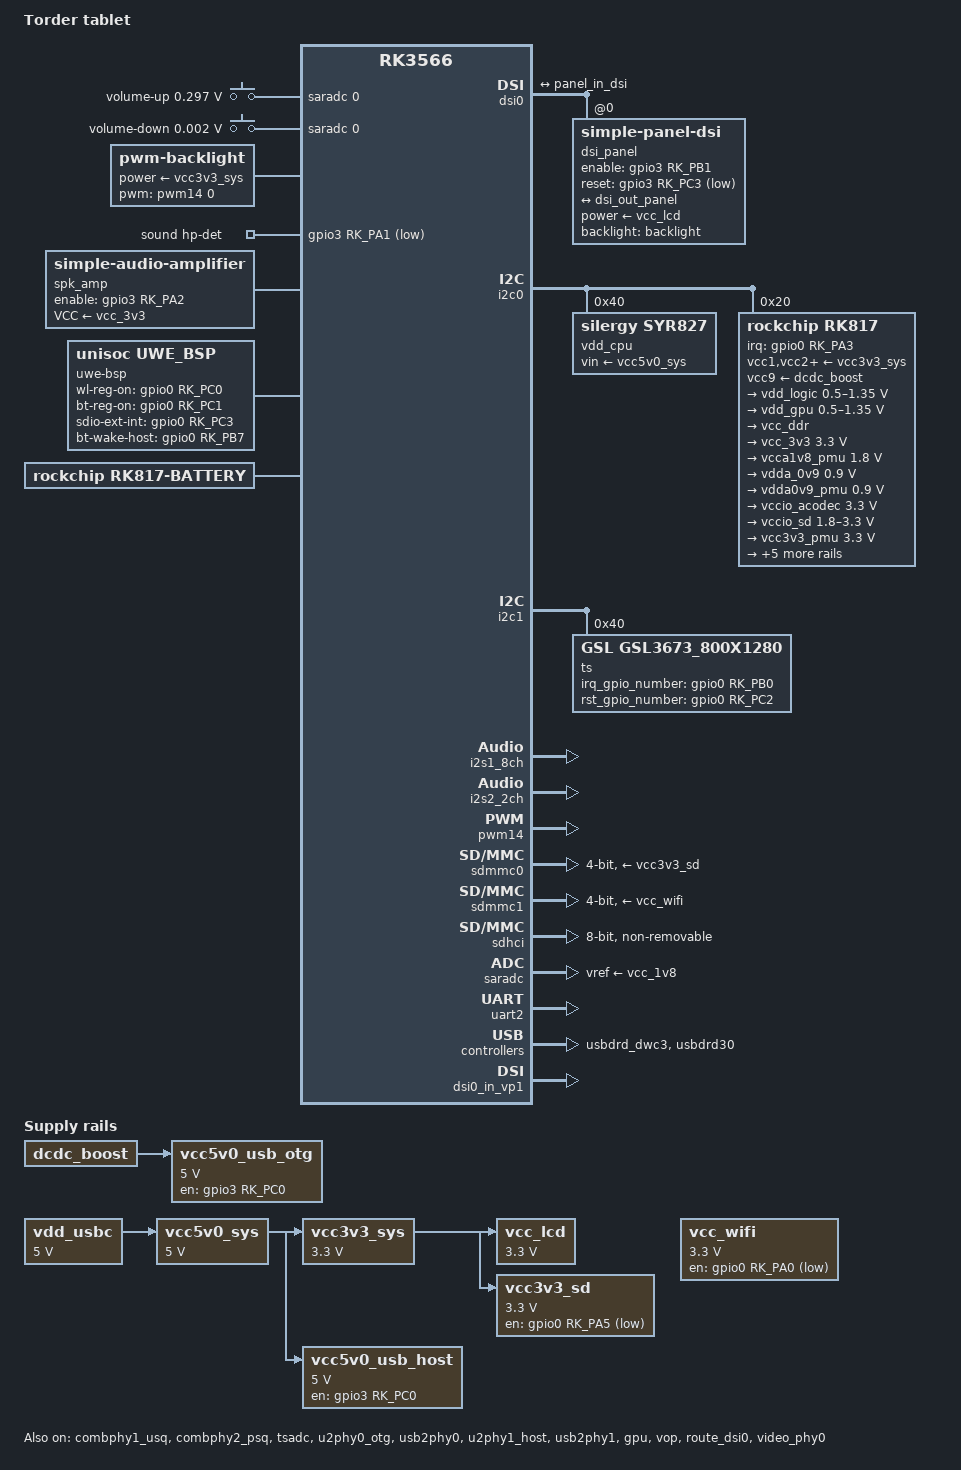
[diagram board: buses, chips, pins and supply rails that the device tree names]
// SPDX-License-Identifier: GPL-2.0-or-later OR MIT
/*
 * Copyright (c) 2025 Serhii Serhieiev <adron@ngnp.net>
 */
/dts-v1/;

#include <dt-bindings/gpio/gpio.h>
#include <dt-bindings/pinctrl/rockchip.h>
#include <dt-bindings/input/rk-input.h>
#include <dt-bindings/sensor-dev.h>
#include <dt-bindings/display/drm_mipi_dsi.h>
#include "rk3566.dtsi"
#include "rk3568-android.dtsi"


/ {
	model = "Torder tablet";
	compatible = "torder,tablet", "rockchip,rk3566";

	aliases {
		mmc0 = &sdmmc0;
		mmc1 = &sdmmc1;
		mmc2 = &sdhci;
	};

	chosen: chosen {
		bootargs = "earlycon=uart8250,mmio32,0xfe660000 console=ttyFIQ0 root=PARTUUID=614e0000-0000 rw rootwait";
	};

	adc-keys {
		compatible = "adc-keys";
		io-channels = <&saradc 0>;
		io-channel-names = "buttons";
		keyup-threshold-microvolt = <1800000>;
		poll-interval = <100>;

		vol-up-key {
			label = "volume-up";
			linux,code = <KEY_VOLUMEUP>;
			press-threshold-microvolt = <297500>;
		};
		vol-down-key {
			label = "volume-down";
			linux,code = <KEY_VOLUMEDOWN>;
			press-threshold-microvolt = <1750>;
		};
	};


	backlight: backlight {
		compatible = "pwm-backlight";
		power-supply = <&vcc3v3_sys>;
		pwms = <&pwm14 0 25000 0>;
		brightness-levels = <
			0		20	20	21	21	22	22	23
			23	24	24	25	25	26	26	27
			27	28	28	29	29	30	30	31
			31	32	32	33	33	34	34	35
			35	36	36	37	37	38	38	39
			40	41	42	43	44	45	46	47
			48	49	50	51	52	53	54	55
			56	57	58	59	60	61	62	63
			64	65	66	67	68	69	70	71
			72	73	74	75	76	77	78	79
			80	81	82	83	84	85	86	87
			88	89	90	91	92	93	94	95
			96	97	98	99	100	101	102	103
			104	105	106	107	108	109	110	111
			112	113	114	115	116	117	118	119
			120	121	122	123	124	125	126	127
			128	129	130	131	132	133	134	135
			136	137	138	139	140	141	142	143
			144	145	146	147	148	149	150	151
			152	153	154	155	156	157	158	159
			160	161	162	163	164	165	166	167
			168	169	170	171	172	173	174	175
			176	177	178	179	180	181	182	183
			184	185	186	187	188	189	190	191
			192	193	194	195	196	197	198	199
			200	201	202	203	204	205	206	207
			208	209	210	211	212	213	214	215
			216	217	218	219	220	221	222	223
			224	225	226	227	228	229	230	231
			232	233	234	235	236	237	238	239
			240	241	242	243	244	245	246	247
			248	249	250	251	252	253	254	255>;
		default-brightness-level = <128>;
	};

	sound {
		compatible = "simple-audio-card";
		pinctrl-0 = <&hp_det>;
		pinctrl-names = "default";
		simple-audio-card,name = "rk817_ext";
		simple-audio-card,aux-devs = <&spk_amp>;
		simple-audio-card,format = "i2s";
		simple-audio-card,hp-det-gpio = <&gpio3 RK_PA1 GPIO_ACTIVE_LOW>;
		simple-audio-card,mclk-fs = <256>;
		simple-audio-card,widgets =
			"Microphone", "Internal Mic",
			"Microphone", "Mic Jack",
			"Headphone", "Headphones",
			"Speaker", "Internal Speakers";
		simple-audio-card,routing =
			/* Internal mic */
			"MICL", "Internal Mic",
			/* External mic (e.g. headset) */
			"MICL", "Mic Jack",

			/* Headphones */
			"Headphones", "HPOL",
			"Headphones", "HPOR",

	    /* Speaker amp path */
			"Speaker Amp INL", "HPOL",
			"Speaker Amp INR", "HPOR",
			"Internal Speakers", "Speaker Amp OUTL",
			"Internal Speakers", "Speaker Amp OUTR";
		simple-audio-card,pin-switches = "Internal Speakers";
		simple-audio-card,jack-second-pin = "Internal Speakers";

		simple-audio-card,codec {
			sound-dai = <&rk817>;
		};

		simple-audio-card,cpu {
			sound-dai = <&i2s1_8ch>;
		};
	};

	spk_amp: audio-amplifier {
		compatible = "simple-audio-amplifier";
		enable-gpios = <&gpio3 RK_PA2 GPIO_ACTIVE_HIGH>;
		pinctrl-0 = <&spk_amp_enable_h>;
		pinctrl-names = "default";
		sound-name-prefix = "Speaker Amp";
		VCC-supply = <&vcc_3v3>;
	};

	bt_sco: bt-sco {
		/* Bluetooth-SCO (Synchronous Connection-Oriented link) audio CODEC */
		compatible = "delta,dfbmcs320";
		#sound-dai-cells = <0>;
		status = "okay";
	};

	bt-sound {
		compatible = "simple-audio-card";
		simple-audio-card,format = "dsp_b";
		simple-audio-card,bitclock-inversion = <1>;
		simple-audio-card,mclk-fs = <256>;
		simple-audio-card,name = "rockchip,bt";
		simple-audio-card,bitclock-master = <&bt_sco>;
		simple-audio-card,frame-master = <&bt_sco>;
		simple-audio-card,widgets =
			"Microphone", "RX",
			"Speaker", "TX";
		simple-audio-card,routing =
			"BT_SCO_TX", "RX",
			"TX", "BT_SCO_RX";

		simple-audio-card,codec {
			sound-dai = <&bt_sco>;
		};

		simple-audio-card,cpu {
			sound-dai = <&i2s2_2ch>;
		};

	};

	sdio_pwrseq: sdio-pwrseq {
		compatible = "mmc-pwrseq-simple";
		clocks = <&rk817 1>;
		clock-names = "ext_clock";
		//pinctrl-names = "default";
		//pinctrl-0 = <&wifi_enable_h>;
		//reset-gpios = <&gpio0 RK_PC0 GPIO_ACTIVE_LOW>; // chip_en (wl-reg-on)
		/* The UWE driver is responsible for reset control. Otherwise, the card detection does not pass. */
	};

	sprd-wlan {
		compatible = "sprd,uwe5622-wifi";
		status = "okay";
	};

	sprd-mtty {
		compatible = "sprd,mtty";
		sprd,name = "ttyBT";
		status = "okay";
	};

	uwe-bsp {
		// Think of the BSP as the glue between the Linux kernel and the hardware — it ensures the UWE5621DS can initialize,
		// communicate, and function properly on your board. Without it, the kernel won’t know how to talk to the chip,
		// even if the hardware is present.
		compatible = "unisoc,uwe_bsp";
		wl-reg-on = <&gpio0 RK_PC0 GPIO_ACTIVE_HIGH>;
		bt-reg-on = <&gpio0 RK_PC1 GPIO_ACTIVE_HIGH>;
		sdio-ext-int-gpio = <&gpio0 RK_PC3 GPIO_ACTIVE_HIGH>;
		unisoc,btwf-file-name = "/lib/firmware/uwe5622/wcnmodem.bin";
		bt-wake-host;
		bt-wake-host-gpio = <&gpio0 RK_PB7 GPIO_ACTIVE_HIGH>;
		blksz-512;
		keep-power-on;
		//data-irq;
		sdma-tx;
		sdma-rx;
		status = "okay";
	};

	// battery: battery {
	// 	compatible = "simple-battery";
	// 	charge-full-design-microamp-hours = <6000000>;
	// 	charge-term-current-microamp = <300000>;
	// 	constant-charge-current-max-microamp = <2000000>;
	// 	constant-charge-voltage-max-microvolt = <4300000>;
	// 	voltage-max-design-microvolt = <4138000>;
	// 	voltage-min-design-microvolt = <3400000>;

	// 	ocv-capacity-celsius = <20>;
	// 	ocv-capacity-table-0 =  <4138000 100>, <4083000 95>, <4059000 90>, <4044000 85>,
	// 				<4030000 80>, <4020000 75>, <4006000 70>, <3972000 65>,
	// 				<3934000 60>, <3904000 55>, <3878000 50>, <3857000 45>,
	// 				<3843000 40>, <3826000 35>, <3801000 30>, <3768000 25>,
	// 				<3735000 20>, <3688000 15>, <3621000 10>, <3553000 5>,
	// 				<3400000 0>;
	// 	ntc-table = <45067 42950 40946 39048 37251 35548 33934 32403 30952 29574 28267 27025 25846 24726 23661 22649 21686 20771 19899 19070 18280 17527 16810 16127 15476 14855 14262 13697 13157 12642 12150 11680 11231 10802 10392 10000 9624 9265 8922 8593 8278 7977 7688 7411 7146 6890 6643 6408 6182 5965 5756 5554 5361 5175 4996 4824 4658 4497 4341 4192 4047 3908 3775 3647 3524 3406 3292 3183 3077 2977 2878 2782 2694 2607 2526 2448 2373 2302 2234 2169 2108 2049 1993 1940 1888 1838 1792 1746 1702 1659 1636>;
	// };

	/* hdmi-con {
		compatible = "hdmi-connector";
		type = "c";

		port {
			hdmi_con_in: endpoint {
				remote-endpoint = <&hdmi_out_con>;
			};
		};
	}; */

	battery: battery {
        compatible = "rockchip,rk817-battery";

        /* OCV Table: 0% ~ 100% (one point every 5%, total 21 points) */
        /* Voltage range: 3400mV → 4399mV, suitable for 4.4V high-voltage Li-ion cells */
        ocv_table = <3400 3450 3500 3550 3600 3650 3700
                     3750 3800 3850 3900 3950 3999 4049
                     4099 4141 4199 4249 4299 4341 4399>;

        design_capacity = <6074>;     /* Design capacity: 6074 mAh */
        design_qmax = <6681>;         /* Maximum available capacity (new cell): 6681 mAh */

        sample_res = <10>;            /* Sense resistor: 10 mΩ (critical driver parameter) */

        sleep_enter_current = <150>;  /* Enter sleep when current < 150 mA */
        sleep_exit_current  = <180>;  /* Exit sleep when current > 180 mA */
        sleep_filter_current = <100>; /* Current filter threshold */

        power_off_threshold = <3400>; /* Power-off voltage: 3.40V (to prevent over-discharge) */
        zero_algorithm_vol = <3950>;  /* Enable high-SOC optimization when ≥ 3.95V */
        max_soc_offset = <60>;        /* Max SOC deviation: 6% triggers calibration */
        monitor_sec = <5>;            /* Monitoring period: update every 5 seconds */
        virtual_power = <0>;          /* 0 = real battery, 1 = virtual/simulated */

        /* NTC ADC table (84 points, from low to high temperature) */
        /* Corresponds roughly to -20°C ~ 60°C; adjust to match your circuit */
        ntc_table = <0xb00b 0xa7c6 0x9ff2 0x9888 0x9183 0x8adc 0x848e 0x7e93
                     0x78e8 0x7386 0x6e6b 0x6991 0x64f6 0x6096 0x5c6d 0x5879
                     0x54b6 0x5123 0x4dbb 0x4a7e 0x4768 0x4477 0x41aa 0x3eff
                     0x3c74 0x3a07 0x37b6 0x3581 0x3365 0x3162 0x2f76 0x2da0
                     0x2bdf 0x2a32 0x2898 0x2710 0x2598 0x2431 0x22da 0x2191
                     0x2056 0x1f29 0x1e08 0x1cf3 0x1bea 0x1aeb 0x19f8 0x190e
                     0x182d 0x1756 0x1688 0x15c1 0x1503 0x144c 0x139c 0x12f4
                     0x1251 0x11b5 0x1120 0x108f 0x1005 0xf7f 0xeff 0xe84
                     0xe0d 0xd9a 0xd2c 0xcc2 0xc5b 0xbf9 0xb9a 0xb3e 0xae6
                     0xa91 0xa3f 0x9f0 0x9a3 0x95a 0x912 0x8ce 0x88b 0x84b
                     0x80e 0x7d2 0x798 0x760 0x72a 0x6f6 0x6c4 0x693 0x664>;

        ntc_degree_from = <1 10>;     /* Vendor-specific temperature mapping (for compatibility) */
    };


	vdd_usbc: vdd-usbc-regulator {
		compatible = "regulator-fixed";
		regulator-name = "vdd_usbc";
		regulator-always-on;
		regulator-boot-on;
		regulator-min-microvolt = <5000000>;
		regulator-max-microvolt = <5000000>;
	};

	vcc3v3_sys: regulator-vcc3v3-sys {
		compatible = "regulator-fixed";
		regulator-name = "vcc3v3_sys";
		regulator-always-on;
		regulator-boot-on;
		regulator-min-microvolt = <3300000>;
		regulator-max-microvolt = <3300000>;
		vin-supply = <&vcc5v0_sys>;
	};

	vcc_lcd: regulator-vcc-lcd {
		compatible = "regulator-fixed";
		regulator-name = "vcc_lcd";
		regulator-always-on;
		regulator-boot-on;
		regulator-min-microvolt = <3300000>;
		regulator-max-microvolt = <3300000>;
		vin-supply = <&vcc3v3_sys>;
	};

	vcc5v0_sys: regulator-vcc5v0-sys {
		compatible = "regulator-fixed";
		regulator-name = "vcc5v0_sys";
		regulator-always-on;
		regulator-boot-on;
		regulator-min-microvolt = <5000000>;
		regulator-max-microvolt = <5000000>;
		vin-supply = <&vdd_usbc>;
	};

	
	vcc5v0_usb_host: regulator-vcc5v0-usb2-host {
		compatible = "regulator-fixed";
		enable-active-high;
		gpio = <&gpio3 RK_PC0 GPIO_ACTIVE_HIGH>;
		pinctrl-names = "default";
		pinctrl-0 = <&vcc5v0_usb_host_en>;
		regulator-name = "vcc5v0_usb2_host";
		regulator-always-on;
		regulator-boot-on;
		regulator-min-microvolt = <5000000>;
		regulator-max-microvolt = <5000000>;
		vin-supply = <&vcc5v0_sys>;
	}; 

	
	vcc5v0_usb_otg: regulator-vcc5v0-usb2-otg {
		compatible = "regulator-fixed";
		enable-active-high;
		gpio = <&gpio3 RK_PC0 GPIO_ACTIVE_HIGH>;
		regulator-name = "vcc5v0_usb2_otg";
		regulator-min-microvolt = <5000000>;
		regulator-max-microvolt = <5000000>;
		vin-supply = <&dcdc_boost>;
	}; 

	vcc3v3_sd: vcc3v3_sd {
		compatible = "regulator-fixed";
		gpio = <&gpio0 RK_PA5 GPIO_ACTIVE_LOW>;
		pinctrl-names = "default";
		pinctrl-0 = <&vcc_sd_h>;
		regulator-boot-on;
		regulator-name = "vcc3v3_sd";
		regulator-min-microvolt = <3300000>;
		regulator-max-microvolt = <3300000>;
		vin-supply = <&vcc3v3_sys>;
	};

	vcc_wifi: regulator-vcc-wifi {
		compatible = "regulator-fixed";
		gpio = <&gpio0 RK_PA0 GPIO_ACTIVE_LOW>;
		pinctrl-0 = <&vcc_wifi_h>;
		pinctrl-names = "default";
		regulator-min-microvolt = <3300000>;
		regulator-max-microvolt = <3300000>;
		regulator-name = "vcc_wifi";
	};

};

&combphy1_usq {
	status = "okay";
};

&combphy2_psq {
	status = "okay";
};

&cpu0 {
	cpu-supply = <&vdd_cpu>;
};

&cpu1 {
	cpu-supply = <&vdd_cpu>;
};

&cpu2 {
	cpu-supply = <&vdd_cpu>;
};

&cpu3 {
	cpu-supply = <&vdd_cpu>;
};

&dsi0 {
	status = "okay";
	#address-cells = <1>;
	#size-cells = <0>;

	dsi_panel: panel@0 {
		status = "okay";
		compatible = "simple-panel-dsi";
		reg = <0>;

		backlight = <&backlight>;
		enable-gpios = <&gpio3 RK_PB1 GPIO_ACTIVE_HIGH>;
		reset-gpios = <&gpio3 RK_PC3 GPIO_ACTIVE_LOW>;

		pinctrl-names = "default";
		pinctrl-0 = <&lcd_rst &lcd_en>;

		power-supply=<&vcc_lcd>;

		enable-delay-ms = <120>;
		prepare-delay-ms = <20>;
		reset-delay-ms = <20>;
		init-delay-ms = <20>;
		unprepare-delay-ms = <20>;
		disable-delay-ms = <20>;

		size,width = <135>;
		size,height = <216>;

		dsi,flags = <(MIPI_DSI_MODE_VIDEO | MIPI_DSI_MODE_VIDEO_BURST | MIPI_DSI_MODE_LPM)>;
		dsi,format = <MIPI_DSI_FMT_RGB888>;
		dsi,lanes  = <4>;

		panel-init-sequence = [
			15 00 02 e0 00 15 00 02 e1 93 15 00 02 e2 65 
			15 00 02 e3 f8 15 00 02 80 03 15 00 02 e0 01 
			15 00 02 00 00 15 00 02 01 3c 15 00 02 17 00 
			15 00 02 0c 74 15 00 02 18 af 15 00 02 19 01 
			15 00 02 1a 00 15 00 02 1b af 15 00 02 1c 01 
			15 00 02 1f 3e 15 00 02 20 28 15 00 02 21 28 
			15 00 02 22 7e 15 00 02 35 26 15 00 02 37 09 
			15 00 02 38 04 15 00 02 39 00 15 00 02 3a 01 
			15 00 02 3c 7c 15 00 02 3d ff 15 00 02 3e ff 
			15 00 02 3f 7f 15 00 02 40 06 15 00 02 41 a0 
			15 00 02 42 81 15 00 02 43 08 15 00 02 44 0b 
			15 00 02 45 28 15 00 02 55 02 15 00 02 57 69 
			15 00 02 59 0a 15 00 02 5a 28 15 00 02 5b 14 
			15 00 02 5d 7c 15 00 02 5e 65 15 00 02 5f 55 
			15 00 02 60 47 15 00 02 61 43 15 00 02 62 32 
			15 00 02 63 34 15 00 02 64 1c 15 00 02 65 33 
			15 00 02 66 31 15 00 02 67 30 15 00 02 68 4e 
			15 00 02 69 3c 15 00 02 6a 44 15 00 02 6b 35 
			15 00 02 6c 31 15 00 02 6d 23 15 00 02 6e 11 
			15 00 02 6f 00 15 00 02 70 7c 15 00 02 71 65 
			15 00 02 72 55 15 00 02 73 47 15 00 02 74 43 
			15 00 02 75 32 15 00 02 76 34 15 00 02 77 1c 
			15 00 02 78 33 15 00 02 79 31 15 00 02 7a 30 
			15 00 02 7b 4e 15 00 02 7c 3c 15 00 02 7d 44 
			15 00 02 7e 35 15 00 02 7f 31 15 00 02 80 23 
			15 00 02 81 11 15 00 02 82 00 15 00 02 e0 02 
			15 00 02 00 1e 15 00 02 01 1e 15 00 02 02 41 
			15 00 02 03 41 15 00 02 04 43 15 00 02 05 43 
			15 00 02 06 1f 15 00 02 07 1f 15 00 02 08 35 
			15 00 02 09 1f 15 00 02 0a 15 15 00 02 0b 15 
			15 00 02 0c 1f 15 00 02 0d 47 15 00 02 0e 47 
			15 00 02 0f 45 15 00 02 10 45 15 00 02 11 4b 
			15 00 02 12 4b 15 00 02 13 49 15 00 02 14 49 
			15 00 02 15 1f 15 00 02 16 1e 15 00 02 17 1e 
			15 00 02 18 40 15 00 02 19 40 15 00 02 1a 42 
			15 00 02 1b 42 15 00 02 1c 1f 15 00 02 1d 1f 
			15 00 02 1e 35 15 00 02 1f 1f 15 00 02 20 15 
			15 00 02 21 15 15 00 02 22 1f 15 00 02 23 46 
			15 00 02 24 46 15 00 02 25 44 15 00 02 26 44 
			15 00 02 27 4a 15 00 02 28 4a 15 00 02 29 48 
			15 00 02 2a 48 15 00 02 2b 1f 15 00 02 2c 1f 
			15 00 02 2d 1f 15 00 02 2e 42 15 00 02 2f 42 
			15 00 02 30 40 15 00 02 31 40 15 00 02 32 1e 
			15 00 02 33 1e 15 00 02 34 1f 15 00 02 35 1f 
			15 00 02 36 1e 15 00 02 37 1e 15 00 02 38 1f 
			15 00 02 39 48 15 00 02 3a 48 15 00 02 3b 4a 
			15 00 02 3c 4a 15 00 02 3d 44 15 00 02 3e 44 
			15 00 02 3f 46 15 00 02 40 46 15 00 02 41 1f 
			15 00 02 42 1f 15 00 02 43 1f 15 00 02 44 43 
			15 00 02 45 43 15 00 02 46 41 15 00 02 47 41 
			15 00 02 48 1e 15 00 02 49 1e 15 00 02 4a 1e 
			15 00 02 4b 1f 15 00 02 4c 1e 15 00 02 4d 1e 
			15 00 02 4e 1f 15 00 02 4f 49 15 00 02 50 49 
			15 00 02 51 4b 15 00 02 52 4b 15 00 02 53 45 
			15 00 02 54 45 15 00 02 55 47 15 00 02 56 47 
			15 00 02 57 1f 15 00 02 58 40 15 00 02 5b 30 
			15 00 02 5c 03 15 00 02 5d 30 15 00 02 5e 01 
			15 00 02 5f 02 15 00 02 63 14 15 00 02 64 6a 
			15 00 02 67 73 15 00 02 68 05 15 00 02 69 14 
			15 00 02 6a 6a 15 00 02 6b 08 15 00 02 6c 00 
			15 00 02 6d 06 15 00 02 6e 00 15 00 02 6f 88 
			15 00 02 77 dd 15 00 02 79 0e 15 00 02 7a 03 
			15 00 02 7d 14 15 00 02 7e 6a 15 00 02 e0 04 
			15 00 02 09 11 15 00 02 0e 48 15 00 02 2d 03 
			15 00 02 2b 08 15 00 02 2e 03 15 00 02 e0 00 
			15 00 02 e6 02 15 00 02 e7 0c 
			05 78 01 11 
			05 64 01 29
		];

		panel-exit-sequence = [
			05 01 01 28 
			05 03 01 10
		];

		disp_timings0: display-timings {
			native-mode = <&dsi_timing0>;
			dsi_timing0: timing0 {
				clock-frequency = <60000000>;
				hactive = <800>;
				vactive = <1280>;

				hsync-len = <18>;
				hback-porch = <18>;
				hfront-porch = <18>;

				vsync-len = <4>;
				vback-porch = <8>;
				vfront-porch = <24>;

				hsync-active = <0>;
				vsync-active = <0>;
				de-active = <0>;
				pixelclk-active = <1>;
			};
		};

 		ports {
 			#address-cells = <1>;
 			#size-cells = <0>;
 			port@0 {
 				reg = <0>;
 				panel_in_dsi: endpoint {
 					remote-endpoint = <&dsi_out_panel>;
 				};
 			};
 		};
	};

	ports {
		#address-cells = <1>;
		#size-cells = <0>;
		port@1 {
			reg = <1>;
			dsi_out_panel: endpoint {
				remote-endpoint = <&panel_in_dsi>;
			};
		};
	};
};

&i2c0 {
	status = "okay";

	vdd_cpu: regulator@40 {
		compatible = "silergy,syr827";
		reg = <0x40>;
		regulator-compatible = "fan53555-reg";
		fcs,suspend-voltage-selector = <1>;
		regulator-name = "vdd_cpu";
		regulator-min-microvolt = <712500>;
		regulator-max-microvolt = <1390000>;
		regulator-ramp-delay = <2300>;
		regulator-always-on;
		regulator-boot-on;
		vin-supply = <&vcc5v0_sys>;

		regulator-state-mem {
			regulator-off-in-suspend;
		};
	};

	rk817: pmic@20 {
		compatible = "rockchip,rk817";
		reg = <0x20>;
		interrupt-parent = <&gpio0>;
		interrupts = <RK_PA3 IRQ_TYPE_LEVEL_LOW>;
		clock-output-names = "rk808-clkout1", "rk808-clkout2";
		#clock-cells = <1>;
		pinctrl-names = "default";
		pinctrl-0 = <&pmic_int_l>, <&i2s1m0_mclk>;
		assigned-clocks = <&cru I2S1_MCLKOUT_TX>;
		assigned-clock-parents = <&cru CLK_I2S1_8CH_TX>;
		clock-names = "mclk";
		clocks = <&cru I2S1_MCLKOUT_TX>;
		rockchip,system-power-controller;
		#sound-dai-cells = <0>;
		wakeup-source;

		vcc1-supply = <&vcc3v3_sys>;
		vcc2-supply = <&vcc3v3_sys>;
		vcc3-supply = <&vcc3v3_sys>;
		vcc4-supply = <&vcc3v3_sys>;
		vcc5-supply = <&vcc3v3_sys>;
		vcc6-supply = <&vcc3v3_sys>;
		vcc7-supply = <&vcc3v3_sys>;
		vcc8-supply = <&vcc3v3_sys>;
		vcc9-supply = <&dcdc_boost>;

		regulators {
			vdd_logic: DCDC_REG1 {
				regulator-always-on;
				regulator-boot-on;
				regulator-min-microvolt = <500000>;
				regulator-max-microvolt = <1350000>;
				regulator-ramp-delay = <6001>;
				regulator-initial-mode = <0x2>;
				regulator-name = "vdd_logic";
				regulator-state-mem {
					regulator-on-in-suspend;
					regulator-suspend-microvolt = <900000>;
				};
			};

			vdd_gpu: DCDC_REG2 {
				regulator-always-on;
				regulator-boot-on;
				regulator-min-microvolt = <500000>;
				regulator-max-microvolt = <1350000>;
				regulator-ramp-delay = <6001>;
				regulator-initial-mode = <0x2>;
				regulator-name = "vdd_gpu";
				regulator-state-mem {
					regulator-off-in-suspend;
				};
			};

			vcc_ddr: DCDC_REG3 {
				regulator-always-on;
				regulator-boot-on;
				regulator-initial-mode = <0x2>;
				regulator-name = "vcc_ddr";
				regulator-state-mem {
					regulator-on-in-suspend;
				};
			};

			vcc_3v3: DCDC_REG4 {
				regulator-always-on;
				regulator-boot-on;
				regulator-min-microvolt = <3300000>;
				regulator-max-microvolt = <3300000>;
				regulator-initial-mode = <0x2>;
				regulator-name = "vcc_3v3";
				regulator-state-mem {
					regulator-off-in-suspend;
				};
			};

			vcca1v8_pmu: LDO_REG1 {
				regulator-always-on;
				regulator-boot-on;
				regulator-min-microvolt = <1800000>;
				regulator-max-microvolt = <1800000>;
				regulator-name = "vcca1v8_pmu";
				regulator-state-mem {
					regulator-on-in-suspend;
					regulator-suspend-microvolt = <1800000>;
				};
			};

			vdda_0v9: LDO_REG2 {
				regulator-always-on;
				regulator-boot-on;
				regulator-min-microvolt = <900000>;
				regulator-max-microvolt = <900000>;
				regulator-name = "vdda_0v9";
				regulator-state-mem {
					regulator-off-in-suspend;
				};
			};

			vdda0v9_pmu: LDO_REG3 {
				regulator-always-on;
				regulator-boot-on;
				regulator-min-microvolt = <900000>;
				regulator-max-microvolt = <900000>;
				regulator-name = "vdda0v9_pmu";
				regulator-state-mem {
					regulator-on-in-suspend;
					regulator-suspend-microvolt = <900000>;
				};
			};

			vccio_acodec: LDO_REG4 {
				regulator-always-on;
				regulator-boot-on;
				regulator-min-microvolt = <3300000>;
				regulator-max-microvolt = <3300000>;
				regulator-name = "vccio_acodec";
				regulator-state-mem {
					regulator-off-in-suspend;
				};
			};

			vccio_sd: LDO_REG5 {
				regulator-always-on;
				regulator-boot-on;
				regulator-min-microvolt = <1800000>;
				regulator-max-microvolt = <3300000>;
				regulator-name = "vccio_sd";
				regulator-state-mem {
					regulator-off-in-suspend;
				};
			};

			vcc3v3_pmu: LDO_REG6 {
				regulator-always-on;
				regulator-boot-on;
				regulator-min-microvolt = <3300000>;
				regulator-max-microvolt = <3300000>;
				regulator-name = "vcc3v3_pmu";
				regulator-state-mem {
					regulator-on-in-suspend;
					regulator-suspend-microvolt = <3300000>;
				};
			};

			vcc_1v8: LDO_REG7 {
				regulator-always-on;
				regulator-boot-on;
				regulator-min-microvolt = <1800000>;
				regulator-max-microvolt = <1800000>;
				regulator-name = "vcc_1v8";
				regulator-state-mem {
					regulator-off-in-suspend;
				};
			};

			vcc1v8_dvp: LDO_REG8 {
				regulator-always-on;
				regulator-boot-on;
				regulator-min-microvolt = <1800000>;
				regulator-max-microvolt = <1800000>;
				regulator-name = "vcc1v8_dvp";
				regulator-state-mem {
					regulator-off-in-suspend;
				};
			};

			vcc2v8_dvp: LDO_REG9 {
				regulator-always-on;
				regulator-boot-on;
				regulator-min-microvolt = <2800000>;
				regulator-max-microvolt = <2800000>;
				regulator-name = "vcc2v8_dvp";
				regulator-state-mem {
					regulator-off-in-suspend;
				};
			};

			dcdc_boost: BOOST {
				/* regulator-always-on; */
				/* regulator-boot-on; */
				regulator-min-microvolt = <5200000>;
				regulator-max-microvolt = <5400000>;
				regulator-name = "boost";
				regulator-state-mem {
					regulator-off-in-suspend;
				};
			};

			otg_switch: OTG_SWITCH {
				regulator-name = "otg_switch";
				regulator-state-mem {
					regulator-off-in-suspend;
				};
			};
		};

		// rk817_charger: charger {
		// 	monitored-battery = <&battery>;
		// 	rockchip,resistor-sense-micro-ohms = <10000>;
		// 	rockchip,sleep-enter-current-microamp = <150000>;
		// 	rockchip,sleep-filter-current-microamp = <100000>;
		// };

		rk817_charger: charger {
			compatible = "rk817,charger";
			min_input_voltage = <4500>;
			max_input_current = <1500>;
			max_chrg_current = <2000>;
			max_chrg_voltage = <4300>;
			chrg_term_mode = <0>;
			chrg_finish_cur = <300>;
			virtual_power = <0>;
			dc_det_adc = <0>;
			extcon = <&usb2phy0>;
		};

	};

};

&i2c1 {
	status = "okay";

	ts@40 {
		compatible = "GSL,GSL3673_800X1280";
		reg = <0x40>;
		irq_gpio_number = <&gpio0 RK_PB0 IRQ_TYPE_EDGE_FALLING>;
		rst_gpio_number = <&gpio0 RK_PC2 GPIO_ACTIVE_HIGH>;
		pinctrl-names = "default";
		pinctrl-0 = <&ts_int>;
	};
};

&i2s0_8ch {
	status = "disabled";
	/* HDMI */
};

&i2s1_8ch {
	pinctrl-names = "default";
	pinctrl-0 = <&i2s1m0_sclktx
		     &i2s1m0_lrcktx
		     &i2s1m0_sdi0
		     &i2s1m0_sdo0>;
	rockchip,trcm-sync-tx-only;
	status = "okay";
	/* PMIC RK817 */
};

&i2s2_2ch {
	rockchip,trcm-sync-tx-only;
	#sound-dai-cells = <0>;
	status = "okay";
	/* UWE5621 Bluetooth */
};

&pinctrl {
	pmic {
		pmic_int_l: pmic-int {
			rockchip,pins = <0 RK_PA3 RK_FUNC_GPIO &pcfg_pull_up>;
		};
	};

	usb {
		vcc5v0_usb_host_en: vcc5v0-usb-host-en {
			rockchip,pins = <3 RK_PC0 RK_FUNC_GPIO &pcfg_pull_none>;
		};
	};

	vcc_sd {
		vcc_sd_h: vcc-sd-h {
			rockchip,pins = <0 RK_PA5 RK_FUNC_GPIO &pcfg_pull_none>;
		};
	};

	lcd {
		lcd_rst: lcd-rst-gpio {
			rockchip,pins = <3 RK_PC3 RK_FUNC_GPIO &pcfg_pull_none>;
		};

		lcd_en: lcd-enable-gpio {
			rockchip,pins = <3 RK_PB1 RK_FUNC_GPIO &pcfg_pull_none>;
		};
	};

	sdio-pwrseq {
		wifi_enable_h: wifi-enable-h {
			rockchip,pins = <0 RK_PC0 RK_FUNC_GPIO &pcfg_pull_none>;
		};
	};

	vcc-wifi {
		vcc_wifi_h: vcc-wifi-h {
			rockchip,pins = <0 RK_PA0 RK_FUNC_GPIO &pcfg_pull_none>;
		};
	};

	audio-amplifier {
		spk_amp_enable_h: spk-amp-enable-h {
			rockchip,pins =
				<3 RK_PA2 RK_FUNC_GPIO &pcfg_pull_none>;
		};
	};

	hp-detect {
		hp_det: hp-det {
			rockchip,pins =
				<3 RK_PA1 RK_FUNC_GPIO &pcfg_pull_none>;
		};
	};
	ts {
		ts_int: ts-int {
			rockchip,pins = <0 RK_PB0 RK_FUNC_GPIO &pcfg_pull_up>;
		};
	};

};

&pmu_io_domains {
    pmuio1-supply = <&vcc3v3_pmu>;
    pmuio2-supply = <&vcca1v8_pmu>;
    vccio1-supply = <&vccio_acodec>;
    #vccio2-supply = <&vcc_1v8>;
    vccio3-supply = <&vccio_sd>;
    vccio4-supply = <&vcc_1v8>;
    vccio5-supply = <&vcc_3v3>;
    vccio6-supply = <&vcc1v8_dvp>;
    vccio7-supply = <&vcc_3v3>;
    status = "okay";
};

&pwm14 {
	status = "okay";
};

&sdmmc0 { /* sd-card slot */
	bus-width = <4>;
	cap-mmc-highspeed;
	cap-sd-highspeed;
	disable-wp;
	sd-uhs-sdr104;
	pinctrl-names = "default";
	pinctrl-0 = <&sdmmc0_bus4 &sdmmc0_clk &sdmmc0_cmd &sdmmc0_det>;
	vmmc-supply = <&vcc3v3_sd>;
	vqmmc-supply = <&vccio_sd>;
	status = "okay";
};

&sdmmc1 { /* sdio0 */
	/* WiFi & BT combo module Unisoc UWE5621DS */
	bus-width = <4>;
	cap-sd-highspeed;
	cap-sdio-irq;
	supports-sdio;
	disable-wp;
	keep-power-in-suspend;
	pinctrl-names = "default";
	vmmc-supply = <&vcc_wifi>;
	//max-frequency = <200000000>;
	pinctrl-0 = <&sdmmc1_bus4 &sdmmc1_cmd &sdmmc1_clk>;
	sd-uhs-sdr104;
	broken-cd;
	//mmc-pwrseq = <&sdio_pwrseq>;
	rockchip,default-sample-phase = <90>;
	status = "okay";
};

&sdhci {
    /* eMMC - mmc2 */
    bus-width = <8>;
    max-frequency = <200000000>;
    mmc-hs200-1_8v;
    non-removable;
    pinctrl-names = "default";
    pinctrl-0 = <&emmc_bus8 &emmc_clk &emmc_cmd &emmc_datastrobe>;
    
    /* 添加分区信息 */
    // mmc-ddr-1_8v;
    // mmc-hs400-1_8v;
    status = "okay";
};

&tsadc {
	status = "okay";
};

&saradc {
	vref-supply = <&vcc_1v8>;
	status = "okay";
};

&uart1 { /* UWE5622 Bluetooth or GNSS? */
	pinctrl-0 = <&uart1m0_ctsn>, <&uart1m0_rtsn>, <&uart1m0_xfer>;
	pinctrl-names = "default";
	uart-has-rtscts;
	dma-names = "tx", "rx";
	status = "disabled";
};

&uart2 {
	status = "okay";
	pinctrl-names = "default";
	pinctrl-0 = <&uart2m0_xfer>;
};

&u2phy0_otg {
	status = "okay";
};

&usb2phy0 {
	status = "okay";
};

&usbdrd_dwc3 {
	status = "okay";
};

&usbdrd30 {
	status = "okay";
};

&u2phy1_host {
	vbus-supply = <&otg_switch>;
	status = "okay";
};

&usb2phy1 {
	status = "okay";
};

// &usb2phy0 {
// 	status = "okay";
// };

// &usb2phy1 {
// 	status = "okay";
// };

// &u2phy0_host {
// 	/* phy-supply = <&vcc5v0_usb_host>; */
// 	/* status = "okay"; */
// 	// status = "disabled";
// 	status = "okay";
// };

// &u2phy1_host {
// 	/* phy-supply = <&vcc5v0_usb_host>; */
// 	/* status = "okay"; */
// 	status = "disabled";
// 	// status = "okay";
// };

// &u2phy0_otg {
// 	// vbus-supply = <&otg_switch>;
// 	// status = "okay";
// 	status = "disabled";
// };

// &u2phy1_otg {
// 	vbus-supply = <&otg_switch>;
// 	status = "okay";
// 	// status = "disabled";
// };

// &usb_host0_ehci {
// 	/* dr_mode = "otg"; !!! */
// 	dr_mode = "host";
// 	phy-names = "usb1-phy";
// 	phys = <&u2phy0_host>;
// 	// extcon = <&usb2phy0>;
// 	status = "okay";
// };

// &usb_host1_ehci {
// 	dr_mode = "otg";
// 	phy-names = "usb2-phy";
// 	phys = <&u2phy0_host>;
// 	extcon = <&usb2phy1>;
// 	status = "okay";
// };

// &cru {
// 	assigned-clocks = <&cru PLL_GPLL>, <&pmucru PLL_PPLL>,
// 		<&cru PLL_VPLL>;
// 	assigned-clock-rates = <1200000000>, <200000000>,
// 		<216000000>;
// };

/* 启用 GPU */
&gpu {
    mali-supply = <&vdd_gpu>;
    status = "okay";
};

/* 确保显示系统正常工作 */
&vop {
    assigned-clocks = <&cru DCLK_VOP0>, <&cru DCLK_VOP1>;
    assigned-clock-parents = <&pmucru PLL_HPLL>, <&cru PLL_VPLL>;
    status = "okay";
};

&vop_mmu {
    status = "okay";
};

&route_dsi0 {
	status = "okay";
	connect = <&vp0_out_dsi0>;
};

&video_phy0 {
	status = "okay";
};

&dsi0_in_vp1 {
	status = "okay";
};

&dsi0_in_vp0 {
	status = "disabled";
};
